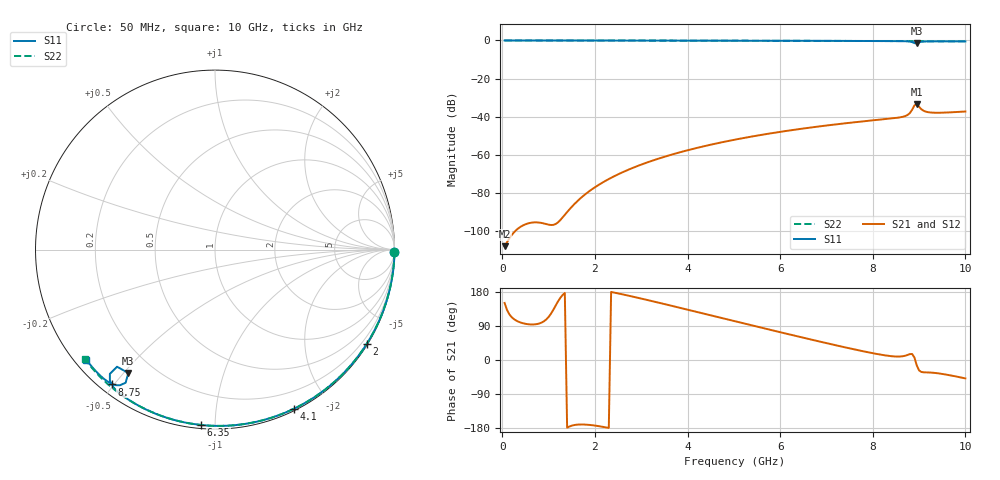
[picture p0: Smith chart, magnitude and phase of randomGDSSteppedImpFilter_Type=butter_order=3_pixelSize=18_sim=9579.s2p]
! freq	dB(S11)	phase(S11)	dB(S12)	phase(S12)
!  dB(S21)	phase(S21)	dB(S22)	phase(S22)
!S-par simulation data
#  GHz  S  DB  R 50
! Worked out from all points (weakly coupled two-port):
!   200 points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, 50 MHz to 10 GHz, reference 50 ohm
!   highest |S21| = -33.46 dB at 8.95 GHz (marker M1); lowest = -108.1 dB at 50 MHz (marker M2)
!   lowest |S11| = -1.5 dB at 8.95 GHz (marker M3), VSWR 11.51, Z = 5.51 - j25.7 ohm
!   |S11| at or under -10 dB: nowhere
!   |S22| runs from -0.5 to 0.0 dB; largest |S21 - S12| = 0
!   S11 on the Smith chart (normalised r, x): 50 MHz: open; 2 GHz: 0.03, -3.49; 4.1 GHz: 0.02, -1.61; 6.35 GHz: 0.02, -0.92; 8.75 GHz: 0.03, -0.49; 10 GHz: 0.03, -0.37
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0.05  -0.00 -0.8  -108.05 150.5  -108.05 150.5  -0.00 -0.8
0.85  -0.01 -13.7  -95.86 98.8  -95.86 98.8  -0.02 -13.7
1.75  -0.04 -28.0  -81.61 -170.2  -81.61 -170.2  -0.04 -28.0
1.85  -0.04 -29.6  -79.69 -170.9  -79.69 -170.9  -0.04 -29.6
2  -0.04 -31.9  -77.12 -173.0  -77.12 -173.0  -0.04 -31.9
2.35  -0.05 -37.4  -72.13 179.5  -72.13 179.5  -0.05 -37.3
2.65  -0.05 -42.0  -68.65 171.8  -68.65 171.8  -0.05 -41.9
3.4  -0.07 -53.3  -61.86 150.6  -61.86 150.6  -0.07 -53.2
4.1  -0.09 -63.6  -57.06 129.9  -57.06 129.9  -0.09 -63.5
5.05  -0.12 -77.0  -51.98 101.5  -51.98 101.5  -0.12 -76.9
6.35  -0.17 -94.6  -46.76 63.1  -46.76 63.1  -0.17 -94.4
6.7  -0.19 -99.2  -45.60 53.0  -45.60 53.0  -0.19 -99.0
8.35  -0.32 -120.7  -41.11 10.8  -41.11 10.8  -0.31 -119.8
8.6  -0.37 -124.5  -40.35 9.3  -40.35 9.3  -0.33 -122.9
8.75  -0.47 -127.5  -39.17 13.2  -39.17 13.2  -0.34 -124.7
8.85  -0.85 -130.2  -36.42 15.8  -36.42 15.8  -0.35 -125.9
8.9  -1.41 -129.9  -34.09 6.5  -34.09 6.5  -0.36 -126.5
8.95  -1.51 -125.1  -33.46 -14.4  -33.46 -14.4  -0.36 -127.1
9  -0.98 -123.9  -34.86 -27.6  -34.86 -27.6  -0.36 -127.8
9.05  -0.69 -125.0  -36.16 -31.6  -36.16 -31.6  -0.36 -128.4
9.2  -0.48 -128.3  -37.70 -32.8  -37.70 -32.8  -0.38 -130.2
10  -0.50 -139.4  -37.32 -48.6  -37.32 -48.6  -0.47 -140.0
